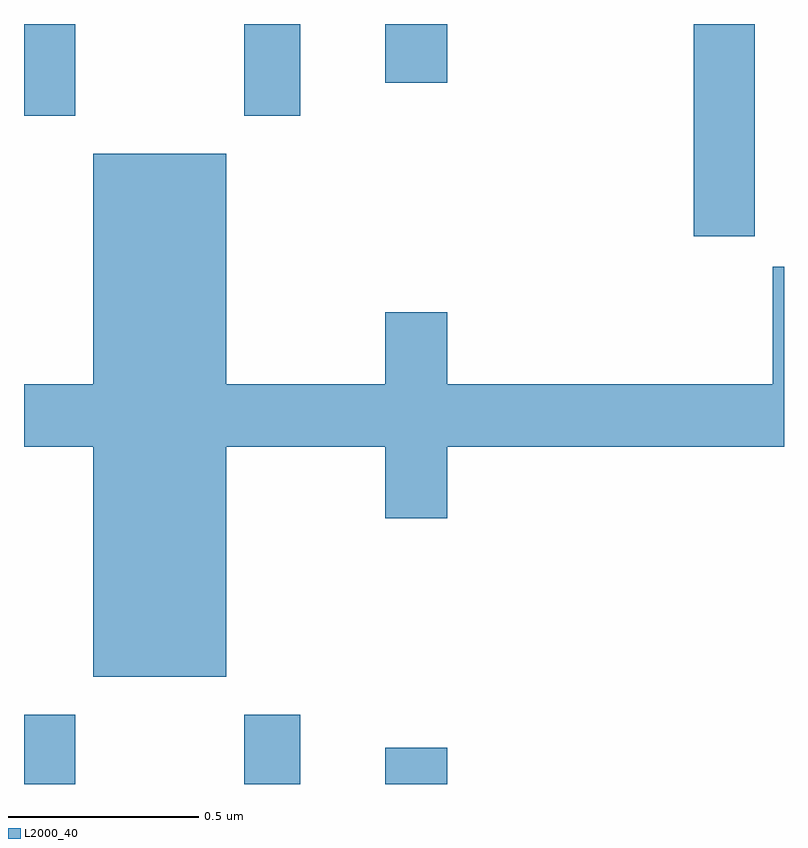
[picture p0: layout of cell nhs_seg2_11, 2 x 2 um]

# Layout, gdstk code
import gdstk
lib = gdstk.Library(unit=1e-6, precision=1e-09)
def R(c, l, rs):  # rectangles x0, y0, x1, y1
    for r in rs: c.add(gdstk.rectangle(r[:2], r[2:], *l))
def P(c, l, *ps):  # polygons
    for p in ps: c.add(gdstk.Polygon(p, *l))
L2000_40 = (2000, 40)

nhs_seg2_11 = lib.new_cell('nhs_seg2_11')
R(nhs_seg2_11, L2000_40, [(111,594.8,111.135,594.982), (111.58,594.8,111.727,594.982), (111.95,594.8,112.114,594.895), (112.763,596.241,112.923,596.8), (111,596.559,111.135,596.8), (111.58,596.559,111.727,596.8), (111.95,596.646,112.114,596.8)])
P(nhs_seg2_11, L2000_40, [(111.532,595.688),(111.95,595.688),(111.95,595.5),(112.114,595.5),(112.114,595.688),(113,595.688),(113,596.161),(112.97,596.161),(112.97,595.852),(112.114,595.852),(112.114,596.041),(111.95,596.041),(111.95,595.852),(111.532,595.852),(111.532,596.458),(111.182,596.458),(111.182,595.852),(111,595.852),(111,595.688),(111.182,595.688),(111.182,595.082),(111.532,595.082)])

lib.write_gds('nhs_seg2_11.gds')
